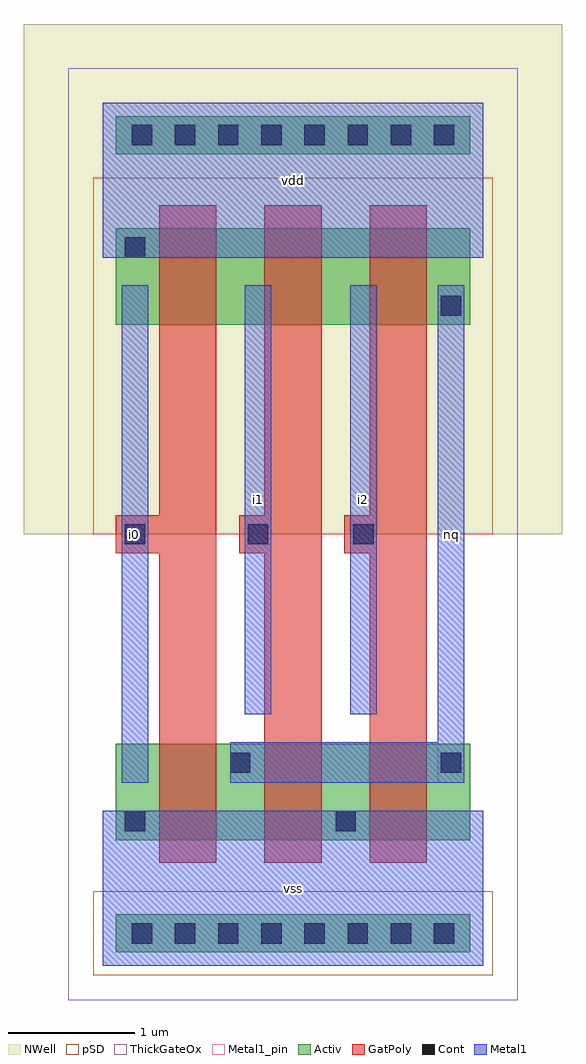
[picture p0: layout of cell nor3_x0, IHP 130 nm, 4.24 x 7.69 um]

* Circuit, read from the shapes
.subckt nor3_x0 i0 i1 i2 nq vdd vss
XM1 nq i0 vss vss sg13_hv_nmos w=0.76u l=0.45u
XM2 vss i1 nq vss sg13_hv_nmos w=0.76u l=0.45u
XM3 nq i2 vss vss sg13_hv_nmos w=0.76u l=0.45u
XM4 n1 i0 vdd vdd sg13_hv_pmos w=0.76u l=0.45u
XM5 n2 i1 n1 vdd sg13_hv_pmos w=0.76u l=0.45u
XM6 nq i2 n2 vdd sg13_hv_pmos w=0.76u l=0.45u
.ends

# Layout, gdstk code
import gdstk
lib = gdstk.Library(unit=1e-6, precision=1e-09)
def R(c, l, rs):  # rectangles x0, y0, x1, y1
    for r in rs: c.add(gdstk.rectangle(r[:2], r[2:], *l))
def A(c, l, x, y, w, h, nx, ny, dx, dy):  # array of equal rectangles
    R(c, l, [(x+i*dx, y+j*dy, x+i*dx+w, y+j*dy+h) for i in range(nx) for j in range(ny)])
def P(c, l, *ps):  # polygons
    for p in ps: c.add(gdstk.Polygon(p, *l))
Activ = (1, 0)
GatPoly = (5, 0)
Cont = (6, 0)
Metal1 = (8, 0)
Metal1_pin = (8, 2)
pSD = (14, 0)
NWell = (31, 0)
ThickGateOx = (44, 0)

nor3_x0 = lib.new_cell('nor3_x0')
R(nor3_x0, Activ, [(0.105,0.105,2.895,0.405), (0.105,0.99,2.895,1.75), (0.105,5.05,2.895,5.81), (0.105,6.395,2.895,6.695)])
P(nor3_x0, GatPoly, [(0.445,0.81),(0.445,3.25),(0.105,3.25),(0.105,3.55),(0.445,3.55),(0.445,5.99),(0.895,5.99),(0.895,0.81)],
  [(1.275,0.81),(1.275,3.25),(1.075,3.25),(1.075,3.55),(1.275,3.55),(1.275,5.99),(1.725,5.99),(1.725,0.81)],
  [(2.105,0.81),(2.105,3.25),(1.905,3.25),(1.905,3.55),(2.105,3.55),(2.105,5.99),(2.555,5.99),(2.555,0.81)])
A(nor3_x0, Cont, 0.23, 0.175, 0.16, 0.16, 8, 2, 0.34, 6.29)
A(nor3_x0, Cont, 0.175, 1.06, 0.16, 0.16, 1, 3, 0, 2.26)
R(nor3_x0, Cont, [(1.835,1.06,1.995,1.22), (1.005,1.52,1.165,1.68), (2.665,1.52,2.825,1.68), (1.145,3.32,1.305,3.48), (1.975,3.32,2.135,3.48), (2.665,5.12,2.825,5.28)])
R(nor3_x0, Metal1, [(0,0,3,1.22), (0.15,1.44,0.36,5.36), (1.12,1.98,1.33,5.36), (1.95,1.98,2.16,5.36), (0,5.58,3,6.8)])
P(nor3_x0, Metal1, [(1.005,1.44),(1.005,1.76),(2.64,1.76),(2.64,5.36),(2.85,5.36),(2.85,1.44)])
R(nor3_x0, Metal1_pin, [(0,0,3,1.22), (0.15,1.44,0.36,5.36), (2.64,1.44,2.85,5.36), (1.12,1.98,1.33,5.36), (1.95,1.98,2.16,5.36), (0,5.58,3,6.8)])
R(nor3_x0, pSD, [(-0.075,-0.075,3.075,0.585), (-0.075,3.4,3.075,6.21)])
R(nor3_x0, NWell, [(-0.62,3.4,3.62,7.42)])
R(nor3_x0, ThickGateOx, [(-0.27,-0.27,3.27,7.07)])
nor3_x0.add(gdstk.Label('vss', (1.5,0.61), layer=8, texttype=2))
nor3_x0.add(gdstk.Label('vdd', (1.5,6.19), layer=8, texttype=2))
nor3_x0.add(gdstk.Label('nq', (2.745,3.4), layer=8, texttype=2))
nor3_x0.add(gdstk.Label('i0', (0.255,3.4), layer=8, texttype=2))
nor3_x0.add(gdstk.Label('i1', (1.225,3.67), layer=8, texttype=2))
nor3_x0.add(gdstk.Label('i2', (2.055,3.67), layer=8, texttype=2))

lib.write_gds('nor3_x0.gds')
